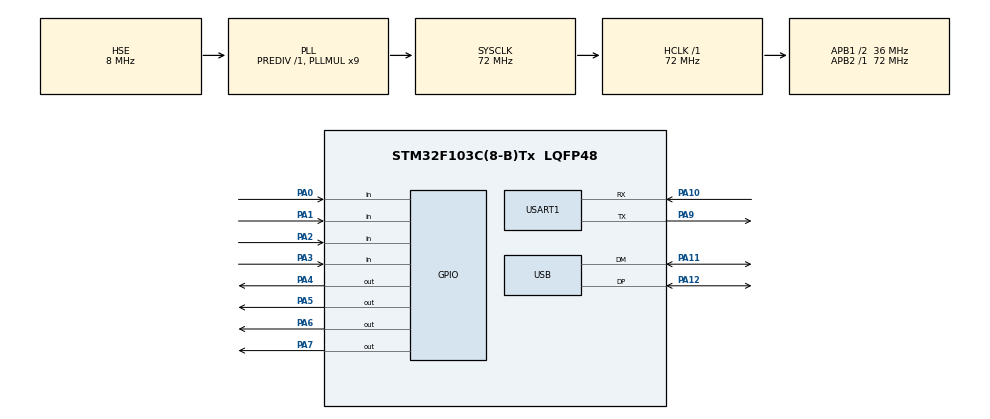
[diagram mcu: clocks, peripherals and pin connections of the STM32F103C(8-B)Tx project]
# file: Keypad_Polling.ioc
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Mcu.Family=STM32F1
Mcu.Name=STM32F103C(8-B)Tx
Mcu.Package=LQFP48
NVIC.PriorityGroup=NVIC_PRIORITYGROUP_4
NVIC.USB_LP_CAN1_RX0_IRQn=true\:0\:0\:false\:false\:true\:false\:true\:true
PA0-WKUP.GPIO_PuPd=GPIO_PULLUP
PA0-WKUP.Signal=GPIO_Input
PA1.GPIO_PuPd=GPIO_PULLUP
PA1.Signal=GPIO_Input
PA10.Mode=Asynchronous
PA10.Signal=USART1_RX
PA11.Mode=Device
PA11.Signal=USB_DM
PA12.Mode=Device
PA12.Signal=USB_DP
PA13.Mode=Serial_Wire
PA13.Signal=SYS_JTMS-SWDIO
PA14.Mode=Serial_Wire
PA14.Signal=SYS_JTCK-SWCLK
PA2.GPIO_PuPd=GPIO_PULLUP
PA2.Signal=GPIO_Input
PA3.GPIO_PuPd=GPIO_PULLUP
PA3.Signal=GPIO_Input
PA4.GPIO_PuPd=GPIO_PULLDOWN
PA4.GPIO_Speed=GPIO_SPEED_FREQ_HIGH
PA4.Signal=GPIO_Output
PA5.GPIO_PuPd=GPIO_PULLDOWN
PA5.GPIO_Speed=GPIO_SPEED_FREQ_HIGH
PA5.Signal=GPIO_Output
PA6.GPIO_PuPd=GPIO_PULLDOWN
PA6.GPIO_Speed=GPIO_SPEED_FREQ_HIGH
PA6.Signal=GPIO_Output
PA7.GPIO_PuPd=GPIO_PULLDOWN
PA7.GPIO_Speed=GPIO_SPEED_FREQ_HIGH
PA7.Signal=GPIO_Output
PA9.Mode=Asynchronous
PA9.Signal=USART1_TX
PD0-OSC_IN.Mode=HSE-External-Oscillator
PD0-OSC_IN.Signal=RCC_OSC_IN
PD1-OSC_OUT.Mode=HSE-External-Oscillator
PD1-OSC_OUT.Signal=RCC_OSC_OUT
ProjectManager.HeapSize=0x200
ProjectManager.StackSize=0x400
ProjectManager.TargetToolchain=CMake
RCC.AHBFreq_Value=72000000
RCC.APB1CLKDivider=RCC_HCLK_DIV2
RCC.APB1Freq_Value=36000000
RCC.APB1TimFreq_Value=72000000
RCC.APB2Freq_Value=72000000
RCC.APB2TimFreq_Value=72000000
RCC.HCLKFreq_Value=72000000
RCC.PLLMUL=RCC_PLL_MUL9
RCC.PLLSourceVirtual=RCC_PLLSOURCE_HSE
RCC.SYSCLKFreq_VALUE=72000000
RCC.SYSCLKSource=RCC_SYSCLKSOURCE_PLLCLK
RCC.USBFreq_Value=48000000
RCC.USBPrescaler=RCC_USBCLKSOURCE_PLL_DIV1_5
USART1.VirtualMode=VM_ASYNC
USB_DEVICE.CLASS_NAME_FS=HID
USB_DEVICE.HID_FS_BINTERVAL=0xA
USB_DEVICE.VirtualMode=Hid
USB_DEVICE.VirtualModeFS=Hid_FS
VP_USB_DEVICE_VS_USB_DEVICE_HID_FS.Mode=HID_FS
board=custom

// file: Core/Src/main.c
/* USER CODE BEGIN Header */
/**
 ******************************************************************************
 * @file           : main.c
 * @brief          : Main program body
 ******************************************************************************
 * @attention
 *
 * Copyright (c) 2025 STMicroelectronics.
 * All rights reserved.
 *
 * This software is licensed under terms that can be found in the LICENSE file
 * in the root directory of this software component.
 * If no LICENSE file comes with this software, it is provided AS-IS.
 *
 ******************************************************************************
 */
/* USER CODE END Header */
#include "main.h"
#include "usart.h"
#include "usb_device.h"
#include "gpio.h"

/* USER CODE BEGIN Includes */
#include "keypad.h"
#include "usbd_hid.h"
/* USER CODE END Includes */

/* USER CODE BEGIN PV */
char key_value;
uint8_t keypad_report[8];
extern USBD_HandleTypeDef hUsbDeviceFS;
/* USER CODE END PV */

void SystemClock_Config(void);

/* USER CODE BEGIN 0 */
uint8_t ASCII_To_HID(char ascii)
{
    // 参考 USB HID Usage Tables
    switch(ascii)
    {
        // === 1. 数字键 (0-9) ===
        case '1': return 0x1E;
        case '2': return 0x1F;
        case '3': return 0x20;
        case '4': return 0x21;
        case '5': return 0x22;
        case '6': return 0x23;
        case '7': return 0x24;
        case '8': return 0x25;
        case '9': return 0x26;
        case '0': return 0x27;
        case '*': return 0x55; // Keypad *
        case '#': return 0x58; // Keypad #
        case '.': return 0x63; // Keypad .
        case '+': return 0x57; // Keypad +
        case '-': return 0x56; // Keypad -
        case '/': return 0x54; // Keypad /

        default: return 0x00;  // 未知按键
    }
}
/* USER CODE END 0 */

int main(void)
{

  /* USER CODE BEGIN 1 */

  SCB->VTOR = FLASH_BASE | 0x4000; // 设置中断向量表偏移地址

  /* USER CODE END 1 */

  /* MCU Configuration--------------------------------------------------------*/

  /* Reset of all peripherals, Initializes the Flash interface and the Systick. */
  HAL_Init();

  /* Configure the system clock */
  SystemClock_Config();

  /* Initialize all configured peripherals */
  MX_GPIO_Init();
  MX_USART1_UART_Init();
  // MX_USB_DEVICE_Init();
  /* USER CODE BEGIN 2 */

  MX_GPIO_Init();
  MX_USART1_UART_Init();
  // MX_USB_DEVICE_Init();  <--- 【第一步】在这里把它注释掉，或者直接删掉！

  /* USER CODE BEGIN 2 */

  // 1. 临时配置 PA12 (D+) 为普通推挽输出
  GPIO_InitTypeDef GPIO_InitStruct = {0};
  GPIO_InitStruct.Pin = GPIO_PIN_12;
  GPIO_InitStruct.Mode = GPIO_MODE_OUTPUT_PP;
  GPIO_InitStruct.Pull = GPIO_NOPULL;
  GPIO_InitStruct.Speed = GPIO_SPEED_FREQ_LOW;
  HAL_GPIO_Init(GPIOA, &GPIO_InitStruct);

  // 2. 拉低 D+ 引脚，模拟拔出 USB 线
  HAL_GPIO_WritePin(GPIOA, GPIO_PIN_12, GPIO_PIN_RESET);

  // 3. 保持 1 秒 (让电脑反应过来 "哦，设备拔了")
  HAL_Delay(1000);

  // 4. 真正初始化 USB (这时候电脑会以为你刚插上)
  // 这一步会自动把 PA12 重新接管为 USB 功能
  MX_USB_DEVICE_Init();

  HAL_UART_Transmit(&huart1, (uint8_t *)"System Start\r\n", 14, 1000);

  HAL_GPIO_WritePin(GPIOA, GPIO_PIN_4 | GPIO_PIN_5 | GPIO_PIN_6 | GPIO_PIN_7, GPIO_PIN_RESET);

  /* USER CODE END 2 */

  /* Infinite loop */
  while (1)
  {

    /* USER CODE BEGIN 3 */
    for (int i = 0; i <= 3; i++)
    {
      if (HAL_GPIO_ReadPin(GPIOA, input_pins[i]) == GPIO_PIN_RESET)
      {
        HAL_Delay(20);
        if (HAL_GPIO_ReadPin(GPIOA, input_pins[i]) == GPIO_PIN_RESET)
        {
          key_value = Keypad_Scan(&input_pins[i]);// 获取按键值

          keypad_report[2] = ASCII_To_HID(key_value);// 转换为HID码
          USBD_HID_SendReport(&hUsbDeviceFS, keypad_report, sizeof(keypad_report));// 发送按键按下报告

          HAL_UART_Transmit(&huart1, (uint8_t *)&key_value, 1, 1000);// 通过串口输出按键值
          while(HAL_GPIO_ReadPin(GPIOA, input_pins[i]) == GPIO_PIN_RESET);// 等待按键释放

          HAL_Delay(20);

          keypad_report[2] = 0x00; // 释放按键
          USBD_HID_SendReport(&hUsbDeviceFS, keypad_report, sizeof(keypad_report));// 发送按键释放报告
        }
        Keypad_Reset();
        break;
      }
    }
  }
  /* USER CODE END 3 */
}

void SystemClock_Config(void)
{
  RCC_OscInitTypeDef RCC_OscInitStruct = {0};
  RCC_ClkInitTypeDef RCC_ClkInitStruct = {0};
  RCC_PeriphCLKInitTypeDef PeriphClkInit = {0};

  /** Initializes the RCC Oscillators according to the specified parameters
  * in the RCC_OscInitTypeDef structure.
  */
  RCC_OscInitStruct.OscillatorType = RCC_OSCILLATORTYPE_HSE;
  RCC_OscInitStruct.HSEState = RCC_HSE_ON;
  RCC_OscInitStruct.HSEPredivValue = RCC_HSE_PREDIV_DIV1;
  RCC_OscInitStruct.HSIState = RCC_HSI_ON;
  RCC_OscInitStruct.PLL.PLLState = RCC_PLL_ON;
  RCC_OscInitStruct.PLL.PLLSource = RCC_PLLSOURCE_HSE;
  RCC_OscInitStruct.PLL.PLLMUL = RCC_PLL_MUL9;
  if (HAL_RCC_OscConfig(&RCC_OscInitStruct) != HAL_OK)
  {
    Error_Handler();
  }

  /** Initializes the CPU, AHB and APB buses clocks
  */
  RCC_ClkInitStruct.ClockType = RCC_CLOCKTYPE_HCLK|RCC_CLOCKTYPE_SYSCLK
                              |RCC_CLOCKTYPE_PCLK1|RCC_CLOCKTYPE_PCLK2;
  RCC_ClkInitStruct.SYSCLKSource = RCC_SYSCLKSOURCE_PLLCLK;
  RCC_ClkInitStruct.AHBCLKDivider = RCC_SYSCLK_DIV1;
  RCC_ClkInitStruct.APB1CLKDivider = RCC_HCLK_DIV2;
  RCC_ClkInitStruct.APB2CLKDivider = RCC_HCLK_DIV1;

  if (HAL_RCC_ClockConfig(&RCC_ClkInitStruct, FLASH_LATENCY_2) != HAL_OK)
  {
    Error_Handler();
  }
  PeriphClkInit.PeriphClockSelection = RCC_PERIPHCLK_USB;
  PeriphClkInit.UsbClockSelection = RCC_USBCLKSOURCE_PLL_DIV1_5;
  if (HAL_RCCEx_PeriphCLKConfig(&PeriphClkInit) != HAL_OK)
  {
    Error_Handler();
  }
}

void Error_Handler(void)
{
  __disable_irq();
  while (1)
  {
  }
}
